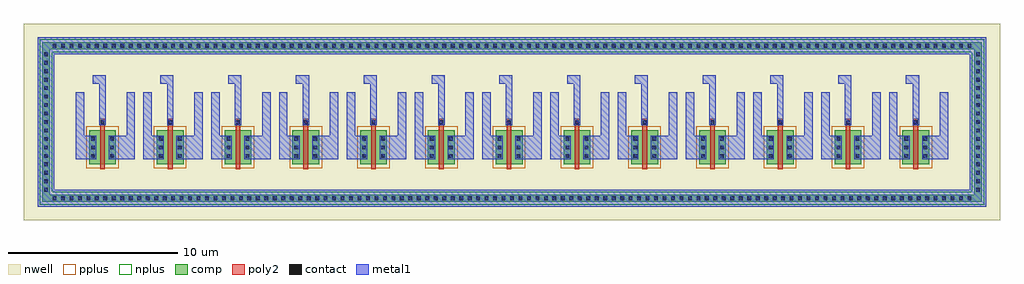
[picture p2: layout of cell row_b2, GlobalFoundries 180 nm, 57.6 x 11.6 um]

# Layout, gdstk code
import gdstk
lib = gdstk.Library(unit=1e-6, precision=1e-09)
def R(c, l, rs):  # rectangles x0, y0, x1, y1
    for r in rs: c.add(gdstk.rectangle(r[:2], r[2:], *l))
def A(c, l, x, y, w, h, nx, ny, dx, dy):  # array of equal rectangles
    R(c, l, [(x+i*dx, y+j*dy, x+i*dx+w, y+j*dy+h) for i in range(nx) for j in range(ny)])
nwell = (21, 0)
comp = (22, 0)
poly2 = (30, 0)
pplus = (31, 0)
nplus = (32, 0)
contact = (33, 0)
metal1 = (34, 0)

pfet__1 = lib.new_cell('pfet__1')
R(pfet__1, nwell, [(-0.9,-0.44,1.56,2.44)])
R(pfet__1, comp, [(-0.46,0,0,2), (0,0,0.66,2), (0.66,0,1.12,2)])
R(pfet__1, poly2, [(0.19,-0.3,0.47,2.3), (0.14,2.3,0.52,2.68)])
R(pfet__1, pplus, [(-0.63,-0.24,1.29,2.24)])
A(pfet__1, contact, -0.34, 0.38, 0.22, 0.22, 1, 3, 0, 0.51)
A(pfet__1, contact, 0.78, 0.38, 0.22, 0.22, 1, 3, 0, 0.51)
R(pfet__1, contact, [(0.22,2.38,0.44,2.6)])
R(pfet__1, metal1, [(-0.42,0.3,-0.04,1.7), (0.7,0.3,1.08,1.7), (0.14,2.295,0.52,2.685)])

row_b2 = lib.new_cell('row_b2')
R(row_b2, nwell, [(-4.3,-3.3,53.3,8.3)])
R(row_b2, comp, [(-3.21,-2.21,-2.79,7.21), (-2.79,-2.21,51.79,-1.79), (51.79,-2.21,52.21,7.21), (-2.79,6.79,51.79,7.21)])
R(row_b2, nplus, [(-3.37,-2.37,52.37,-1.63), (-3.37,-2.37,-2.63,7.37), (51.63,-2.37,52.37,7.37), (-3.37,6.63,52.37,7.37)])
A(row_b2, contact, -2.61, -2.11, 0.22, 0.22, 109, 2, 0.5, 9)
A(row_b2, contact, -3.11, -1.61, 0.22, 0.22, 1, 17, 0, 0.5)
A(row_b2, contact, 51.89, -1.61, 0.22, 0.22, 1, 17, 0, 0.5)
A(row_b2, metal1, -1.25, 0.3, 1.21, 1.4, 13, 1, 4, 0)
A(row_b2, metal1, 0.7, 0.3, 1.55, 1.4, 13, 1, 4, 0)
A(row_b2, metal1, 0.14, 2.665, 0.38, 2.585, 13, 1, 4, 0)
A(row_b2, metal1, -0.25, 4.75, 0.77, 0.5, 13, 1, 4, 0)
R(row_b2, metal1, [(-3.5,-2.5,-2.5,7.5), (-2.5,-2.5,51.5,-1.5), (51.5,-2.5,52.5,7.5), (-1.25,0.3,-0.75,4.25), (1.75,0.3,2.25,4.25), (2.75,0.3,3.25,4.25), (5.75,0.3,6.25,4.25), (6.75,0.3,7.25,4.25), (9.75,0.3,10.25,4.25), (10.75,0.3,11.25,4.25), (13.75,0.3,14.25,4.25), (14.75,0.3,15.25,4.25), (17.75,0.3,18.25,4.25), (18.75,0.3,19.25,4.25), (21.75,0.3,22.25,4.25), (22.75,0.3,23.25,4.25), (25.75,0.3,26.25,4.25), (26.75,0.3,27.25,4.25), (29.75,0.3,30.25,4.25), (30.75,0.3,31.25,4.25), (33.75,0.3,34.25,4.25), (34.75,0.3,35.25,4.25), (37.75,0.3,38.25,4.25), (38.75,0.3,39.25,4.25), (41.75,0.3,42.25,4.25), (42.75,0.3,43.25,4.25), (45.75,0.3,46.25,4.25), (46.75,0.3,47.25,4.25), (49.75,0.3,50.25,4.25), (-2.5,6.5,51.5,7.5)])
row_b2.add(gdstk.Reference(pfet__1, (0,0)))
row_b2.add(gdstk.Reference(pfet__1, (4,0)))
row_b2.add(gdstk.Reference(pfet__1, (8,0)))
row_b2.add(gdstk.Reference(pfet__1, (12,0)))
row_b2.add(gdstk.Reference(pfet__1, (16,0)))
row_b2.add(gdstk.Reference(pfet__1, (20,0)))
row_b2.add(gdstk.Reference(pfet__1, (24,0)))
row_b2.add(gdstk.Reference(pfet__1, (28,0)))
row_b2.add(gdstk.Reference(pfet__1, (32,0)))
row_b2.add(gdstk.Reference(pfet__1, (36,0)))
row_b2.add(gdstk.Reference(pfet__1, (40,0)))
row_b2.add(gdstk.Reference(pfet__1, (44,0)))
row_b2.add(gdstk.Reference(pfet__1, (48,0)))

lib.write_gds('row_b2.gds')
